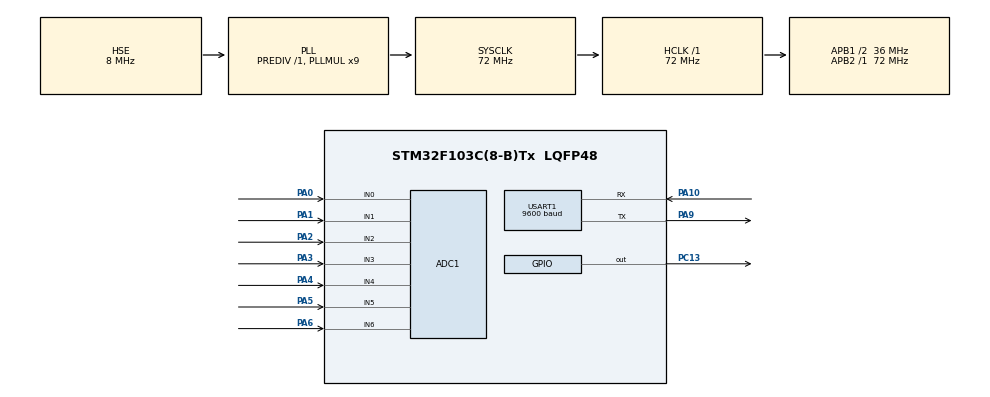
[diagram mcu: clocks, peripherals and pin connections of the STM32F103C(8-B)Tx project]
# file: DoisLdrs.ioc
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ADC1.Channel-0\#ChannelRegularConversion=ADC_CHANNEL_0
ADC1.Channel-1\#ChannelRegularConversion=ADC_CHANNEL_1
ADC1.Channel-2\#ChannelRegularConversion=ADC_CHANNEL_2
ADC1.Channel-3\#ChannelRegularConversion=ADC_CHANNEL_3
ADC1.Channel-4\#ChannelRegularConversion=ADC_CHANNEL_4
ADC1.Channel-5\#ChannelRegularConversion=ADC_CHANNEL_5
ADC1.Channel-6\#ChannelRegularConversion=ADC_CHANNEL_6
ADC1.InjNumberOfConversion=0
ADC1.NbrOfConversion=7
ADC1.NbrOfConversionFlag=1
ADC1.Rank-0\#ChannelRegularConversion=1
ADC1.Rank-1\#ChannelRegularConversion=2
ADC1.Rank-2\#ChannelRegularConversion=3
ADC1.Rank-3\#ChannelRegularConversion=4
ADC1.Rank-4\#ChannelRegularConversion=5
ADC1.Rank-5\#ChannelRegularConversion=6
ADC1.Rank-6\#ChannelRegularConversion=7
ADC1.SamplingTime-0\#ChannelRegularConversion=ADC_SAMPLETIME_71CYCLES_5
ADC1.SamplingTime-1\#ChannelRegularConversion=ADC_SAMPLETIME_71CYCLES_5
ADC1.SamplingTime-2\#ChannelRegularConversion=ADC_SAMPLETIME_71CYCLES_5
ADC1.SamplingTime-3\#ChannelRegularConversion=ADC_SAMPLETIME_71CYCLES_5
ADC1.SamplingTime-4\#ChannelRegularConversion=ADC_SAMPLETIME_71CYCLES_5
ADC1.SamplingTime-5\#ChannelRegularConversion=ADC_SAMPLETIME_71CYCLES_5
ADC1.SamplingTime-6\#ChannelRegularConversion=ADC_SAMPLETIME_71CYCLES_5
ADC1.master=1
Dma.ADC1.0.Direction=DMA_PERIPH_TO_MEMORY
Dma.ADC1.0.Instance=DMA1_Channel1
Dma.ADC1.0.MemDataAlignment=DMA_MDATAALIGN_WORD
Dma.ADC1.0.MemInc=DMA_MINC_ENABLE
Dma.ADC1.0.Mode=DMA_CIRCULAR
Dma.ADC1.0.PeriphDataAlignment=DMA_PDATAALIGN_WORD
Dma.ADC1.0.PeriphInc=DMA_PINC_DISABLE
Dma.ADC1.0.Priority=DMA_PRIORITY_LOW
Dma.Request0=ADC1
Mcu.Family=STM32F1
Mcu.Name=STM32F103C(8-B)Tx
Mcu.Package=LQFP48
NVIC.ADC1_2_IRQn=true\:0\:0\:false\:false\:true
NVIC.DMA1_Channel1_IRQn=true\:0\:0\:false\:false\:true
NVIC.PriorityGroup=NVIC_PRIORITYGROUP_4
PA0-WKUP.Signal=ADCx_IN0
PA1.Signal=ADCx_IN1
PA10.Mode=Asynchronous
PA10.Signal=USART1_RX
PA13.Mode=Serial_Wire
PA13.Signal=SYS_JTMS-SWDIO
PA14.Mode=Serial_Wire
PA14.Signal=SYS_JTCK-SWCLK
PA2.Signal=ADCx_IN2
PA3.Signal=ADCx_IN3
PA4.Signal=ADCx_IN4
PA5.Signal=ADCx_IN5
PA6.Signal=ADCx_IN6
PA9.Mode=Asynchronous
PA9.Signal=USART1_TX
PC13-TAMPER-RTC.Signal=GPIO_Output
PD0-OSC_IN.Mode=HSE-External-Oscillator
PD0-OSC_IN.Signal=RCC_OSC_IN
PD1-OSC_OUT.Mode=HSE-External-Oscillator
PD1-OSC_OUT.Signal=RCC_OSC_OUT
ProjectManager.HeapSize=0x200
ProjectManager.StackSize=0x400
ProjectManager.TargetToolchain=TrueSTUDIO
RCC.ADCPresc=RCC_ADCPCLK2_DIV6
RCC.AHBFreq_Value=72000000
RCC.APB1CLKDivider=RCC_HCLK_DIV2
RCC.APB1Freq_Value=36000000
RCC.APB1TimFreq_Value=72000000
RCC.APB2Freq_Value=72000000
RCC.APB2TimFreq_Value=72000000
RCC.HCLKFreq_Value=72000000
RCC.PLLMUL=RCC_PLL_MUL9
RCC.PLLSourceVirtual=RCC_PLLSOURCE_HSE
RCC.SYSCLKFreq_VALUE=72000000
RCC.SYSCLKSource=RCC_SYSCLKSOURCE_PLLCLK
RCC.USBFreq_Value=72000000
SH.ADCx_IN0.0=ADC1_IN0,IN0
SH.ADCx_IN1.0=ADC1_IN1,IN1
SH.ADCx_IN2.0=ADC1_IN2,IN2
SH.ADCx_IN3.0=ADC1_IN3,IN3
SH.ADCx_IN4.0=ADC1_IN4,IN4
SH.ADCx_IN5.0=ADC1_IN5,IN5
SH.ADCx_IN6.0=ADC1_IN6,IN6
USART1.BaudRate=9600
USART1.VirtualMode=VM_ASYNC
board=DoisLdrs

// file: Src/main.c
/**
  ******************************************************************************
  * File Name          : main.c
  * Description        : Main program body
  ******************************************************************************
  ** This notice applies to any and all portions of this file
  * that are not between comment pairs USER CODE BEGIN and
  * USER CODE END. Other portions of this file, whether
  * inserted by the user or by software development tools
  * are owned by their respective copyright owners.
  *
  * COPYRIGHT(c) 2017 STMicroelectronics
  *
  * Redistribution and use in source and binary forms, with or without modification,
  * are permitted provided that the following conditions are met:
  *   1. Redistributions of source code must retain the above copyright notice,
  *      this list of conditions and the following disclaimer.
  *   2. Redistributions in binary form must reproduce the above copyright notice,
  *      this list of conditions and the following disclaimer in the documentation
  *      and/or other materials provided with the distribution.
  *   3. Neither the name of STMicroelectronics nor the names of its contributors
  *      may be used to endorse or promote products derived from this software
  *      without specific prior written permission.
  *
  * THIS SOFTWARE IS PROVIDED BY THE COPYRIGHT HOLDERS AND CONTRIBUTORS "AS IS"
  * AND ANY EXPRESS OR IMPLIED WARRANTIES, INCLUDING, BUT NOT LIMITED TO, THE
  * IMPLIED WARRANTIES OF MERCHANTABILITY AND FITNESS FOR A PARTICULAR PURPOSE ARE
  * DISCLAIMED. IN NO EVENT SHALL THE COPYRIGHT HOLDER OR CONTRIBUTORS BE LIABLE
  * FOR ANY DIRECT, INDIRECT, INCIDENTAL, SPECIAL, EXEMPLARY, OR CONSEQUENTIAL
  * DAMAGES (INCLUDING, BUT NOT LIMITED TO, PROCUREMENT OF SUBSTITUTE GOODS OR
  * SERVICES; LOSS OF USE, DATA, OR PROFITS; OR BUSINESS INTERRUPTION) HOWEVER
  * CAUSED AND ON ANY THEORY OF LIABILITY, WHETHER IN CONTRACT, STRICT LIABILITY,
  * OR TORT (INCLUDING NEGLIGENCE OR OTHERWISE) ARISING IN ANY WAY OUT OF THE USE
  * OF THIS SOFTWARE, EVEN IF ADVISED OF THE POSSIBILITY OF SUCH DAMAGE.
  *
  ******************************************************************************
  */
#include "main.h"
#include "stm32f1xx_hal.h"
#include "adc.h"
#include "dma.h"
#include "usart.h"
#include "gpio.h"
#include <stdio.h>
#include <stdlib.h>

/* USER CODE BEGIN PV */
/* Private variables ---------------------------------------------------------*/
uint32_t ADC_value[7];
int contador = 0;
char str[4];
uint8_t espaco[] = " ";
uint8_t e[] = "&";
uint8_t hashtag[] = "#";
uint8_t cifrao[] = "$";
uint8_t poste1[] = "Poste 1 queimado\n\r";
uint8_t poste2[] = "Poste 2 queimado\n\r";
uint8_t poste3[] = "Poste 3 queimado\n\r";
uint8_t poste4[] = "Poste 4 queimado\n\r";
uint8_t rodovia[] = "Engarrafado";

/* USER CODE END PV */

void SystemClock_Config(void);
//void Error_Handler(void);
 void MX_GPIO_Init(void);
 void MX_DMA_Init(void);
 void MX_ADC1_Init(void);

/* USER CODE BEGIN PFP */
/* Private function prototypes -----------------------------------------------*/

/* USER CODE END PFP */

/* USER CODE BEGIN 0 */

void HAL_ADC_ConvCpltCallback(ADC_HandleTypeDef* hadc){
	//ler os valores dos ADCS
	uint32_t val[7];
	if (hadc->Instance  == ADC1){
		/*Valores dos LDRS*/
		val[0] = ADC_value[0];
		val[1] = ADC_value[1];
		val[2] = ADC_value[2];
		val[3] = ADC_value[3];
		/*Valores dos Sensores*/
		val[4] = ADC_value[4];
		val[5] = ADC_value[5];
		val[6] = ADC_value[6];

		/*Codigo dos LDRS*/
		//Checa o funcionamento de cada led

		if (val[0] > 3100){
			HAL_UART_Transmit(&huart1, (uint8_t*)cifrao, sizeof(cifrao), 10);
			HAL_UART_Transmit(&huart1, (uint8_t*)poste1, 20,1000);
			HAL_UART_Transmit(&huart1, (uint8_t*)hashtag, sizeof(hashtag), 10);
		}
		if (val[1] > 3000){
			HAL_UART_Transmit(&huart1, (uint8_t*)cifrao, sizeof(cifrao), 10);
			HAL_UART_Transmit(&huart1, (uint8_t*)poste2, 20,1000);
			HAL_UART_Transmit(&huart1, (uint8_t*)hashtag, sizeof(hashtag), 10);}
		if (val[2] > 2800){
			HAL_UART_Transmit(&huart1, (uint8_t*)cifrao, sizeof(cifrao), 10);
			HAL_UART_Transmit(&huart1, (uint8_t*)poste3, 20,1000);
			HAL_UART_Transmit(&huart1, (uint8_t*)hashtag, sizeof(hashtag), 10);}

		if (val[3] > 3000){
			   HAL_UART_Transmit(&huart1, (uint8_t*)cifrao, sizeof(cifrao), 10);
			   HAL_UART_Transmit(&huart1, (uint8_t*)poste4, 20,1000);
			   HAL_UART_Transmit(&huart1, (uint8_t*)hashtag, sizeof(hashtag), 10);
		}

		/*Codigo dos sensores*/

		//Se os carros estiverem parados rodovia esta engarrafada
		if (val[4] > 3730 && val[5] > 3730 && val[6] > 3730){

			HAL_UART_Transmit(&huart1, (uint8_t*)e, sizeof(e), 10);
			HAL_UART_Transmit(&huart1,(uint8_t*)rodovia , sizeof(rodovia),10);
			HAL_UART_Transmit(&huart1, (uint8_t*)hashtag, sizeof(hashtag), 10);
		}
		//Se a rodovia nao estiver engarrafada a contagem ocorre
		else if (val[6] > 3730){

			contador = contador + 1;
			sprintf(str,"%d", contador);
			HAL_UART_Transmit(&huart1, (uint8_t*)e, sizeof(e), 10);
			HAL_UART_Transmit(&huart1, str ,4,10);
			HAL_UART_Transmit(&huart1, (uint8_t*)hashtag, sizeof(hashtag), 10);

}

}

}

/* USER CODE END 0 */

int main(void)
{

  /* MCU Configuration----------------------------------------------------------*/

  /* Reset of all peripherals, Initializes the Flash interface and the Systick. */
  HAL_Init();

  /* Configure the system clock */
  SystemClock_Config();

  /* Initialize all configured peripherals */
  MX_GPIO_Init();
  MX_DMA_Init();
  MX_ADC1_Init();
  MX_USART1_UART_Init();

  /* USER CODE BEGIN 2 */
HAL_ADC_Start_DMA(&hadc1, (uint32_t*)ADC_value,7);
HAL_ADC_Start_IT(&hadc1);
  /* USER CODE END 2 */

  /* Infinite loop */
  while (1)
  {

  /* USER CODE BEGIN 3 */
	  HAL_ADC_Start_IT(&hadc1);
	  HAL_Delay(100);

  }
  /* USER CODE END 3 */

}

/** System Clock Configuration
*/
void SystemClock_Config(void)
{

  RCC_OscInitTypeDef RCC_OscInitStruct;
  RCC_ClkInitTypeDef RCC_ClkInitStruct;
  RCC_PeriphCLKInitTypeDef PeriphClkInit;

    /**Initializes the CPU, AHB and APB busses clocks
    */
  RCC_OscInitStruct.OscillatorType = RCC_OSCILLATORTYPE_HSE;
  RCC_OscInitStruct.HSEState = RCC_HSE_ON;
  RCC_OscInitStruct.HSEPredivValue = RCC_HSE_PREDIV_DIV1;
  RCC_OscInitStruct.HSIState = RCC_HSI_ON;
  RCC_OscInitStruct.PLL.PLLState = RCC_PLL_ON;
  RCC_OscInitStruct.PLL.PLLSource = RCC_PLLSOURCE_HSE;
  RCC_OscInitStruct.PLL.PLLMUL = RCC_PLL_MUL9;
  if (HAL_RCC_OscConfig(&RCC_OscInitStruct) != HAL_OK)
  {
    _Error_Handler(__FILE__, __LINE__);
  }

    /**Initializes the CPU, AHB and APB busses clocks
    */
  RCC_ClkInitStruct.ClockType = RCC_CLOCKTYPE_HCLK|RCC_CLOCKTYPE_SYSCLK
                              |RCC_CLOCKTYPE_PCLK1|RCC_CLOCKTYPE_PCLK2;
  RCC_ClkInitStruct.SYSCLKSource = RCC_SYSCLKSOURCE_PLLCLK;
  RCC_ClkInitStruct.AHBCLKDivider = RCC_SYSCLK_DIV1;
  RCC_ClkInitStruct.APB1CLKDivider = RCC_HCLK_DIV2;
  RCC_ClkInitStruct.APB2CLKDivider = RCC_HCLK_DIV1;

  if (HAL_RCC_ClockConfig(&RCC_ClkInitStruct, FLASH_LATENCY_2) != HAL_OK)
  {
    _Error_Handler(__FILE__, __LINE__);
  }

  PeriphClkInit.PeriphClockSelection = RCC_PERIPHCLK_ADC;
  PeriphClkInit.AdcClockSelection = RCC_ADCPCLK2_DIV6;
  if (HAL_RCCEx_PeriphCLKConfig(&PeriphClkInit) != HAL_OK)
  {
    _Error_Handler(__FILE__, __LINE__);
  }

    /**Configure the Systick interrupt time
    */
  HAL_SYSTICK_Config(HAL_RCC_GetHCLKFreq()/1000);

    /**Configure the Systick
    */
  HAL_SYSTICK_CLKSourceConfig(SYSTICK_CLKSOURCE_HCLK);

  /* SysTick_IRQn interrupt configuration */
  HAL_NVIC_SetPriority(SysTick_IRQn, 0, 0);
}

void _Error_Handler(char * file, int line)
{
  while(1)
  {
  }
}

/************************ (C) COPYRIGHT STMicroelectronics *****END OF FILE****/
